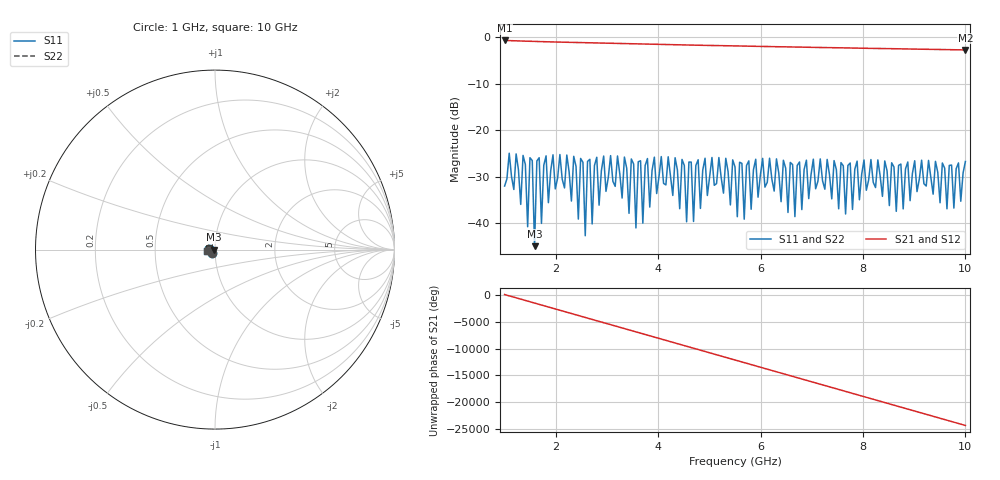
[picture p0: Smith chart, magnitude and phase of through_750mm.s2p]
# HZ S RI R 50
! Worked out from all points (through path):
!   201 points, 1 GHz to 10 GHz, reference 50 ohm
!   highest |S21| = -0.68 dB at 1 GHz (marker M1); lowest = -2.7 dB at 10 GHz (marker M2)
!   lowest |S11| = -45.0 dB at 1.585 GHz (marker M3), VSWR 1.01, Z = 49.4 - j0.0311 ohm
!   |S11| at or under -10 dB: start of sweep to end of sweep
!   |S22| runs from -45.0 to -25.0 dB; largest |S21 - S12| = 0
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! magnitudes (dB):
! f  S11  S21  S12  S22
! 1 GHz  -32.1  -0.7  -0.7  -32.1
! 1.36 GHz  -25.4  -0.8  -0.8  -25.4
! 1.45 GHz  -40.8  -0.8  -0.8  -40.8
! 1.54 GHz  -26.6  -0.9  -0.9  -26.6
! 1.585 GHz  -45.0  -0.9  -0.9  -45.0
! 1.63 GHz  -26.6  -0.9  -0.9  -26.6
! 1.72 GHz  -40.1  -0.9  -0.9  -40.1
! 1.81 GHz  -25.5  -1.0  -1.0  -25.5
! 2.53 GHz  -26.9  -1.2  -1.2  -26.9
! 2.575 GHz  -42.8  -1.2  -1.2  -42.8
! 2.665 GHz  -26.3  -1.2  -1.2  -26.3
! 2.71 GHz  -40.2  -1.2  -1.2  -40.2
! 2.8 GHz  -25.8  -1.2  -1.2  -25.8
! 3.475 GHz  -26.2  -1.4  -1.4  -26.2
! 3.565 GHz  -41.1  -1.4  -1.4  -41.1
! 3.61 GHz  -26.8  -1.4  -1.4  -26.8
! 3.7 GHz  -40.0  -1.5  -1.5  -40.0
! 4.015 GHz  -30.1  -1.5  -1.5  -30.1
! 5.5 GHz  -27.9  -1.9  -1.9  -27.9
! 7.03 GHz  -26.3  -2.2  -2.2  -26.3
! 8.515 GHz  -36.3  -2.4  -2.4  -36.3
! 10 GHz  -26.8  -2.7  -2.7  -26.8
